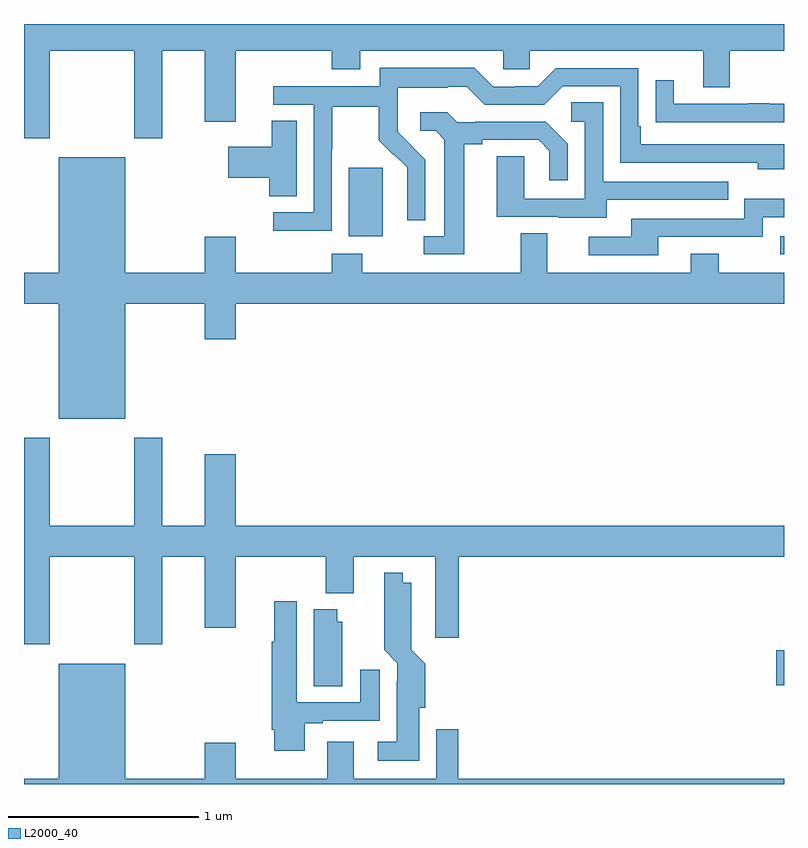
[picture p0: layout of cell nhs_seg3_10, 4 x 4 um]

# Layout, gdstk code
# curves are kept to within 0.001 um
import gdstk
lib = gdstk.Library(unit=1e-6, precision=1e-09)
def R(c, l, rs):  # rectangles x0, y0, x1, y1
    for r in rs: c.add(gdstk.rectangle(r[:2], r[2:], *l))
def P(c, l, *ps):  # polygons
    for p in ps: c.add(gdstk.Polygon(p, *l))
L2000_40 = (2000, 40)

nhs_seg3_10 = lib.new_cell('nhs_seg3_10')
R(nhs_seg3_10, L2000_40, [(114.96,686.921,115,687.104), (114.981,689.187,115,689.283), (112.709,689.282,112.888,689.643)])
P(nhs_seg3_10, L2000_40, [(111.135,690.26),(111.58,690.26),(111.58,689.799),(111.727,689.799),(111.727,690.26),(111.95,690.26),(111.95,689.886),(112.114,689.886),(112.114,690.26),(112.619,690.26),(112.619,690.161),(112.771,690.161),(112.771,690.26),(113.523,690.26),(113.523,690.162),(113.661,690.162),(113.661,690.26),(114.575,690.26),(114.575,690.066),(114.715,690.066),(114.715,690.26),(115,690.26),(115,690.4),(111,690.4),(111,689.799),(111.135,689.799)],
  [(112.62,689.74),(112.623,689.74),(112.623,689.964),(112.867,689.964),(112.867,689.789),(112.944,689.712),(112.947,689.715),(113.018,689.645),(113.018,689.522),(113.016,689.522),(113.016,689.368),(113.112,689.368),(113.112,689.686),(112.966,689.834),(112.966,689.931),(112.968,689.931),(112.968,690.065),(113.231,690.065),(113.231,690.069),(113.331,690.069),(113.424,689.976),(113.739,689.976),(113.835,690.072),(114.138,690.072),(114.138,689.67),(114.863,689.67),(114.863,689.636),(115,689.636),(115,689.766),(114.247,689.766),(114.247,689.863),(114.234,689.863),(114.234,690.168),(113.799,690.168),(113.703,690.072),(113.585,690.072),(113.585,690.069),(113.469,690.069),(113.369,690.169),(112.872,690.169),(112.872,690.072),(112.311,690.072),(112.311,689.976),(112.524,689.976),(112.524,689.409),(112.311,689.409),(112.311,689.311),(112.62,689.311)],
  [(115,689.979),(114.923,689.979),(114.923,689.984),(114.811,689.984),(114.811,689.979),(114.421,689.979),(114.421,690.103),(114.325,690.103),(114.325,689.884),(114.427,689.884),(114.427,689.883),(115,689.883)],
  [(114.067,689.475),(114.707,689.475),(114.707,689.571),(114.048,689.571),(114.048,689.987),(113.88,689.987),(113.88,689.886),(113.952,689.886),(113.952,689.481),(113.634,689.481),(113.634,689.705),(113.489,689.705),(113.489,689.385),(113.813,689.385),(113.813,689.381),(114.067,689.381)],
  [(113.317,689.768),(113.413,689.768),(113.413,689.79),(113.708,689.79),(113.765,689.733),(113.765,689.577),(113.862,689.577),(113.862,689.77),(113.746,689.886),(113.374,689.886),(113.374,689.883),(113.28,689.883),(113.228,689.935),(113.085,689.935),(113.085,689.838),(113.166,689.838),(113.213,689.791),(113.213,689.283),(113.103,689.283),(113.103,689.187),(113.317,689.187)],
  [(112.435,689.891),(112.304,689.891),(112.304,689.755),(112.074,689.755),(112.074,689.59),(112.292,689.59),(112.292,689.494),(112.435,689.494)],
  [(111.532,688.928),(111.95,688.928),(111.95,688.74),(112.114,688.74),(112.114,688.928),(115,688.928),(115,689.092),(114.657,689.092),(114.657,689.191),(114.509,689.191),(114.509,689.092),(113.755,689.092),(113.755,689.3),(113.615,689.3),(113.615,689.092),(112.779,689.092),(112.779,689.191),(112.619,689.191),(112.619,689.092),(112.114,689.092),(112.114,689.281),(111.95,689.281),(111.95,689.092),(111.532,689.092),(111.532,689.698),(111.182,689.698),(111.182,689.092),(111,689.092),(111,688.928),(111.182,688.928),(111.182,688.322),(111.532,688.322)],
  [(114.337,689.28),(114.888,689.28),(114.888,689.382),(115,689.382),(115,689.479),(114.792,689.479),(114.792,689.376),(114.197,689.376),(114.197,689.28),(113.973,689.28),(113.973,689.184),(114.337,689.184)],
  [(111.135,687.596),(111.58,687.596),(111.58,687.135),(111.727,687.135),(111.727,687.596),(111.95,687.596),(111.95,687.222),(112.114,687.222),(112.114,687.596),(112.588,687.596),(112.588,687.404),(112.735,687.404),(112.735,687.596),(113.165,687.596),(113.165,687.171),(113.288,687.171),(113.288,687.596),(115,687.596),(115,687.76),(112.114,687.76),(112.114,688.135),(111.95,688.135),(111.95,687.76),(111.727,687.76),(111.727,688.222),(111.58,688.222),(111.58,687.76),(111.135,687.76),(111.135,688.222),(111,688.222),(111,687.135),(111.135,687.135)],
  [(113.08,686.802),(113.111,686.802),(113.111,687.034),(113.039,687.106),(113.038,687.46),(112.993,687.46),(112.993,687.511),(112.896,687.511),(112.895,687.106),(112.965,687.036),(112.965,686.942),(112.961,686.942),(112.961,686.623),(112.863,686.623),(112.863,686.522),(113.08,686.522)],
  [(112.477,686.721),(112.573,686.721),(112.573,686.733),(112.873,686.733),(112.873,687.001),(112.769,687.001),(112.769,686.829),(112.435,686.829),(112.435,687.361),(112.316,687.361),(112.316,687.148),(112.304,687.148),(112.304,686.686),(112.316,686.686),(112.316,686.574),(112.477,686.574)],
  [(112.675,687.255),(112.648,687.255),(112.648,687.319),(112.526,687.319),(112.526,686.914),(112.675,686.914)],
  [(115,686.428),(113.285,686.428),(113.285,686.689),(113.169,686.689),(113.169,686.428),(112.735,686.428),(112.735,686.623),(112.595,686.623),(112.595,686.428),(112.114,686.428),(112.114,686.617),(111.95,686.617),(111.95,686.428),(111.532,686.428),(111.532,687.034),(111.182,687.034),(111.182,686.428),(111,686.428),(111,686.4),(115,686.4)])

lib.write_gds('nhs_seg3_10.gds')
